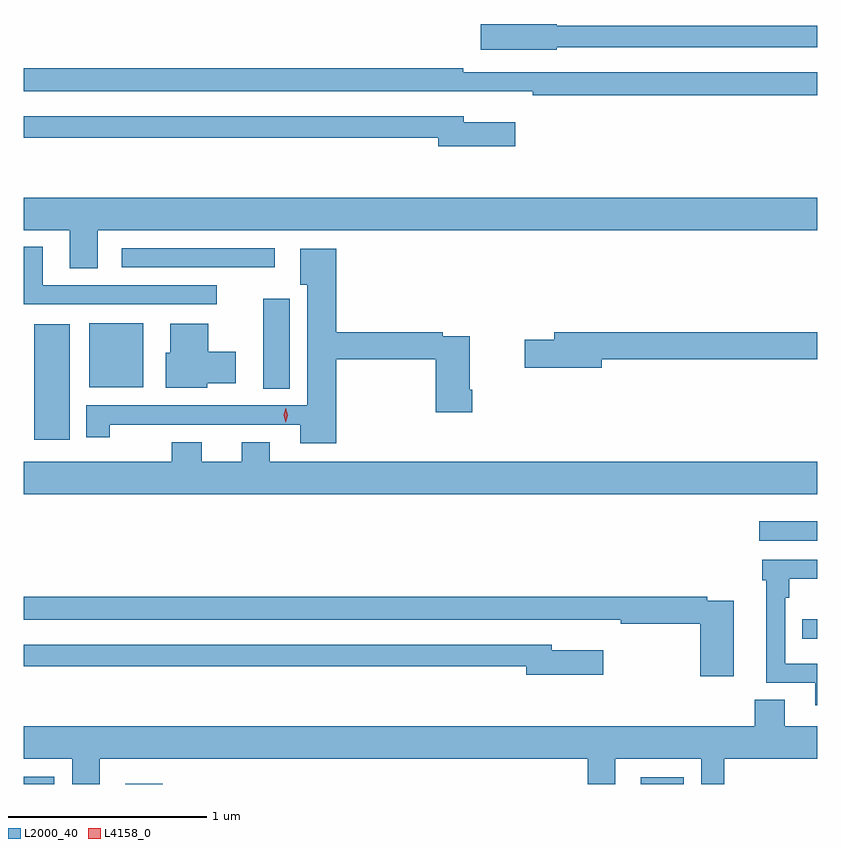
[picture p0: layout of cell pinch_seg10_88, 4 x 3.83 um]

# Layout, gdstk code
import gdstk
lib = gdstk.Library(unit=1e-6, precision=1e-09)
def R(c, l, rs):  # rectangles x0, y0, x1, y1
    for r in rs: c.add(gdstk.rectangle(r[:2], r[2:], *l))
def P(c, l, *ps):  # polygons
    for p in ps: c.add(gdstk.Polygon(p, *l))
L2000_40 = (2000, 40)
L4158_0 = (4158, 0)

pinch_seg10_88 = lib.new_cell('pinch_seg10_88')
R(pinch_seg10_88, L2000_40, [(731.353,1306.848,731.508,1306.884), (731.865,1306.848,732.053,1306.849), (734.463,1306.848,734.68,1306.882), (735.277,1307.581,735.353,1307.678), (735.06,1308.075,735.353,1308.172), (731.405,1308.584,731.584,1309.165), (732.56,1308.841,732.694,1309.294), (731.684,1308.848,731.956,1309.171), (731.847,1309.452,732.619,1309.548)])
P(pinch_seg10_88, L2000_40, [(734.04,1310.562),(735.353,1310.562),(735.353,1310.671),(734.04,1310.671),(734.04,1310.679),(733.656,1310.679),(733.656,1310.549),(734.04,1310.549)],
  [(735.353,1310.436),(733.568,1310.436),(733.568,1310.456),(731.353,1310.456),(731.353,1310.34),(733.666,1310.34),(733.666,1310.339),(733.918,1310.339),(733.918,1310.32),(735.353,1310.32)],
  [(733.831,1310.185),(733.57,1310.185),(733.57,1310.214),(731.353,1310.214),(731.353,1310.106),(733.442,1310.106),(733.442,1310.063),(733.831,1310.063)],
  [(731.725,1309.64),(735.353,1309.64),(735.353,1309.804),(731.353,1309.804),(731.353,1309.64),(731.585,1309.64),(731.585,1309.447),(731.725,1309.447)],
  [(732.325,1309.362),(731.449,1309.362),(731.449,1309.555),(731.353,1309.555),(731.353,1309.266),(732.325,1309.266)],
  [(732.929,1308.988),(733.43,1308.988),(733.43,1308.723),(733.613,1308.723),(733.613,1308.835),(733.6,1308.835),(733.6,1309.104),(733.466,1309.104),(733.466,1309.124),(732.929,1309.124),(732.929,1309.546),(732.746,1309.546),(732.746,1309.364),(732.782,1309.364),(732.782,1308.756),(731.669,1308.756),(731.669,1308.597),(731.787,1308.597),(731.787,1308.659),(732.014,1308.659),(732.014,1308.66),(732.746,1308.66),(732.746,1308.566),(732.929,1308.566)],
  [(732.279,1308.869),(732.421,1308.869),(732.421,1309.027),(732.283,1309.027),(732.283,1309.168),(732.092,1309.168),(732.092,1309.023),(732.068,1309.023),(732.068,1308.845),(732.279,1308.845)],
  [(734.266,1308.988),(735.353,1308.988),(735.353,1309.124),(734.027,1309.124),(734.027,1309.088),(733.878,1309.088),(733.878,1308.946),(734.266,1308.946)],
  [(735.353,1308.472),(732.592,1308.472),(732.592,1308.571),(732.452,1308.571),(732.452,1308.472),(732.25,1308.472),(732.25,1308.571),(732.098,1308.571),(732.098,1308.472),(731.353,1308.472),(731.353,1308.308),(735.353,1308.308)],
  [(735.353,1307.454),(735.192,1307.454),(735.192,1307.786),(735.212,1307.786),(735.212,1307.882),(735.353,1307.882),(735.353,1307.979),(735.076,1307.979),(735.076,1307.876),(735.095,1307.876),(735.095,1307.358),(735.344,1307.358),(735.344,1307.246),(735.353,1307.246)],
  [(734.932,1307.772),(734.798,1307.772),(734.798,1307.792),(731.353,1307.792),(731.353,1307.676),(734.11,1307.676),(734.11,1307.675),(734.362,1307.675),(734.362,1307.656),(734.762,1307.656),(734.762,1307.391),(734.932,1307.391)],
  [(734.275,1307.521),(734.014,1307.521),(734.014,1307.55),(731.353,1307.55),(731.353,1307.442),(733.886,1307.442),(733.886,1307.399),(734.275,1307.399)],
  [(731.737,1306.976),(734.195,1306.976),(734.195,1306.848),(734.335,1306.848),(734.335,1306.976),(734.769,1306.976),(734.769,1306.848),(734.885,1306.848),(734.885,1306.976),(735.353,1306.976),(735.353,1307.14),(735.19,1307.14),(735.19,1307.273),(735.038,1307.273),(735.038,1307.14),(731.353,1307.14),(731.353,1306.976),(731.597,1306.976),(731.597,1306.848),(731.737,1306.848)])
P(pinch_seg10_88, L4158_0, [(732.674,1308.671),(732.674,1308.671),(732.664,1308.707),(732.674,1308.743),(732.674,1308.743),(732.674,1308.743),(732.684,1308.707),(732.674,1308.671)])

lib.write_gds('pinch_seg10_88.gds')
